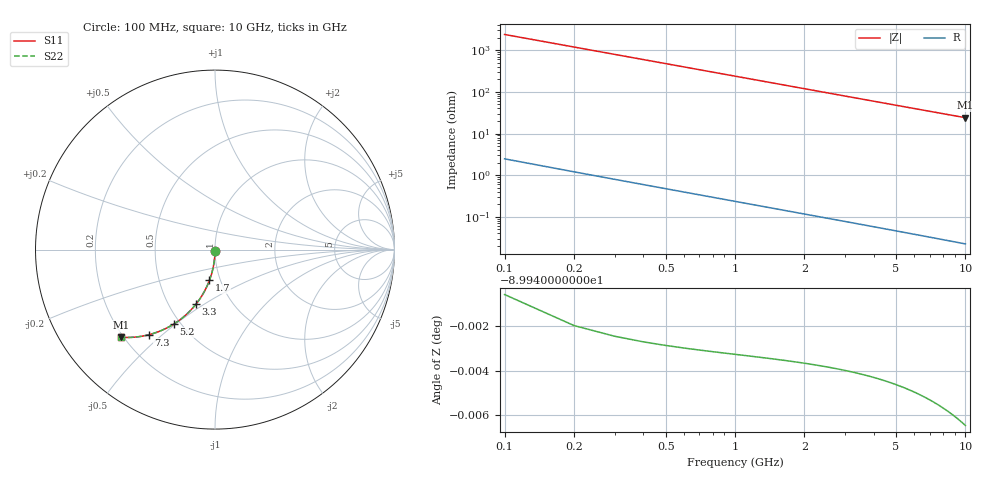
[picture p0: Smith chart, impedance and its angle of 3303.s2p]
# Hz S RI R 50.00
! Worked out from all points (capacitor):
!   100 points, 100 MHz to 10 GHz, reference 50 ohm
!   read as one part in shunt: C = 667 fF near 100 MHz
!   lowest |Z| = 24.1 ohm at 10 GHz (marker M1)
!   S11 on the Smith chart (normalised r, x): 100 MHz: 1.00, -0.02; 1.7 GHz: 0.89, -0.31; 3.3 GHz: 0.68, -0.46; 5.2 GHz: 0.46, -0.49; 7.3 GHz: 0.30, -0.45; 10 GHz: 0.19, -0.38
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1e8  -6.15e-05 -0.0104  0.9998 -0.0106  0.9998 -0.0106  -6.15e-05 -0.0104
2e8  -0.000401 -0.0207  0.9995 -0.0212  0.9995 -0.0212  -0.000401 -0.0207
3e8  -0.000959 -0.0311  0.9989 -0.0317  0.9989 -0.0317  -0.000959 -0.0311
4e8  -0.00173 -0.0414  0.9981 -0.0423  0.9981 -0.0423  -0.00173 -0.0414
5e8  -0.00273 -0.0517  0.9972 -0.0528  0.9972 -0.0528  -0.00273 -0.0517
6e8  -0.00394 -0.062  0.9959 -0.0632  0.9959 -0.0632  -0.00394 -0.062
8e8  -0.007 -0.0824  0.9929 -0.0841  0.9929 -0.0841  -0.007 -0.0824
1.1e9  -0.0132 -0.1126  0.9867 -0.1149  0.9867 -0.1149  -0.0132 -0.1126
1.4e9  -0.0211 -0.1421  0.9787 -0.145  0.9787 -0.145  -0.0211 -0.1421
1.7e9  -0.0308 -0.1708  0.969 -0.1744  0.969 -0.1744  -0.0308 -0.1708
1.8e9  -0.0345 -0.1802  0.9654 -0.1839  0.9654 -0.1839  -0.0345 -0.1802
2.1e9  -0.0463 -0.2076  0.9536 -0.212  0.9536 -0.212  -0.0463 -0.2076
2.5e9  -0.0644 -0.2424  0.9355 -0.2476  0.9355 -0.2476  -0.0644 -0.2424
3.3e9  -0.107 -0.3052  0.8928 -0.3122  0.8928 -0.3122  -0.107 -0.3052
3.4e9  -0.1128 -0.3124  0.887 -0.3196  0.887 -0.3196  -0.1128 -0.3124
4.2e9  -0.1625 -0.3641  0.8373 -0.3729  0.8373 -0.3729  -0.1625 -0.3641
5.1e9  -0.2225 -0.4101  0.7773 -0.4209  0.7773 -0.4209  -0.2225 -0.4101
5.2e9  -0.2293 -0.4145  0.7705 -0.4254  0.7705 -0.4254  -0.2293 -0.4145
6.7e9  -0.3307 -0.4629  0.669 -0.4771  0.669 -0.4771  -0.3307 -0.4629
7.3e9  -0.3698 -0.4746  0.6299 -0.49  0.6299 -0.49  -0.3698 -0.4746
8.4e9  -0.4374 -0.4867  0.5623 -0.5045  0.5623 -0.5045  -0.4374 -0.4867
1e10  -0.5246 -0.4882  0.475 -0.5095  0.475 -0.5095  -0.5246 -0.4882
